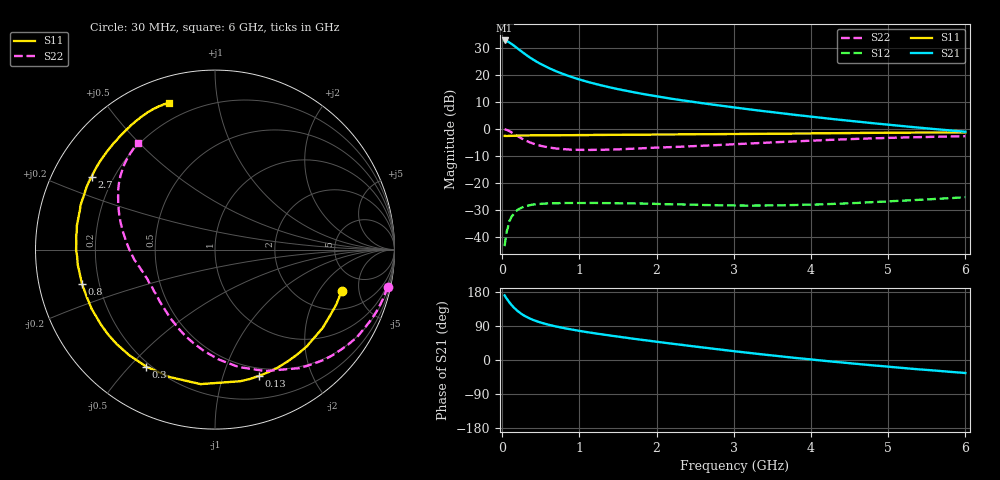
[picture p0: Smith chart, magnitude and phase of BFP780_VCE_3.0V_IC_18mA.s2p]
! Infineon Technologies  Discrete & RF Semiconductors
! BFP780
! VCE =  3.0 V,  IC =  18 mA
! Common Emitter S-Parameters:  Jul 2015
# GHz  S  MA  R  50
!  f  S11  S21  S12  S22
! GHz  MAG  ANG  MAG  ANG  MAG  ANG  MAG  ANG
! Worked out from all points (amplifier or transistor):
!   75 points, 30 MHz to 6 GHz, reference 50 ohm
!   highest |S21| = 32.7 dB at 30 MHz (marker M1)
!   |S21| within 3 dB of that: start of sweep to 199.9 MHz
!   unconditionally stable (mu >= 1): 2.423 GHz to end of sweep
!   at 150 MHz: K = 0.07, MSG = 31.1 dB, |S12| = -31.3 dB
!   at 2.3 GHz: K = 0.95, MSG = 19.3 dB, |S12| = -27.9 dB
!   at 6 GHz: K = 1.42, MAG = 8.2 dB, |S12| = -25.2 dB
!   S11 on the Smith chart (normalised r, x): 30 MHz: 3.17, -3.30; 130 MHz: 0.42, -1.32; 300 MHz: 0.18, -0.56; 800 MHz: 0.14, -0.12; 2.7 GHz: 0.12, +0.27; 6 GHz: 0.12, +0.73
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0.03  0.7425 -18.3  43.14 170.5  0.0068 81.2  0.9846 -12.2
0.05  0.739 -30.0  42.35 164.0  0.0109 79.5  0.9668 -20.1
0.08  0.7431 -46.6  40.44 155.4  0.0168 68.8  0.93 -31.5
0.1  0.7429 -56.8  38.87 150.1  0.0206 61.1  0.8962 -38.5
0.13  0.7454 -70.8  36.43 142.8  0.0249 54.9  0.8446 -48.4
0.15  0.7468 -79.1  34.7 138.4  0.0272 50.6  0.8113 -54.5
0.2  0.7537 -96.1  30.53 129.0  0.0321 43.4  0.7326 -67.5
0.25  0.7539 -109.7  26.96 121.3  0.0351 36.5  0.6673 -78.6
0.3  0.7562 -120.4  23.83 115.2  0.0371 32.0  0.6129 -88.0
0.35  0.758 -129.0  21.25 110.1  0.0388 27.3  0.5687 -96.1
0.4  0.7596 -136.0  19.11 105.7  0.04 24.4  0.5351 -102.9
0.5  0.7604 -146.6  15.8 98.7  0.0412 18.9  0.486 -114.3
0.6  0.7625 -154.4  13.39 93.0  0.0421 15.9  0.4553 -123.3
0.8  0.7653 -165.7  10.2 84.2  0.0427 10.9  0.4224 -136.8
1.1  0.769 -177.1  7.439 73.5  0.0427 6.6  0.4076 -150.1
1.5  0.777 172.4  5.431 61.7  0.0422 3.1  0.4186 -161.9
2.1  0.7893 160.0  3.792 45.6  0.0405 0.7  0.4557 -174.0
2.7  0.7986 149.4  2.846 30.6  0.039 1.1  0.4958 175.0
3.1  0.8072 142.7  2.397 21.0  0.0384 3.2  0.5288 167.7
4.1  0.8275 127.9  1.626 -0.7  0.0401 8.9  0.6138 151.6
5.1  0.8519 116.1  1.159 -19.5  0.0466 12.2  0.6879 137.8
6  0.8585 107.5  0.886 -34.3  0.0547 10.8  0.7339 125.9
